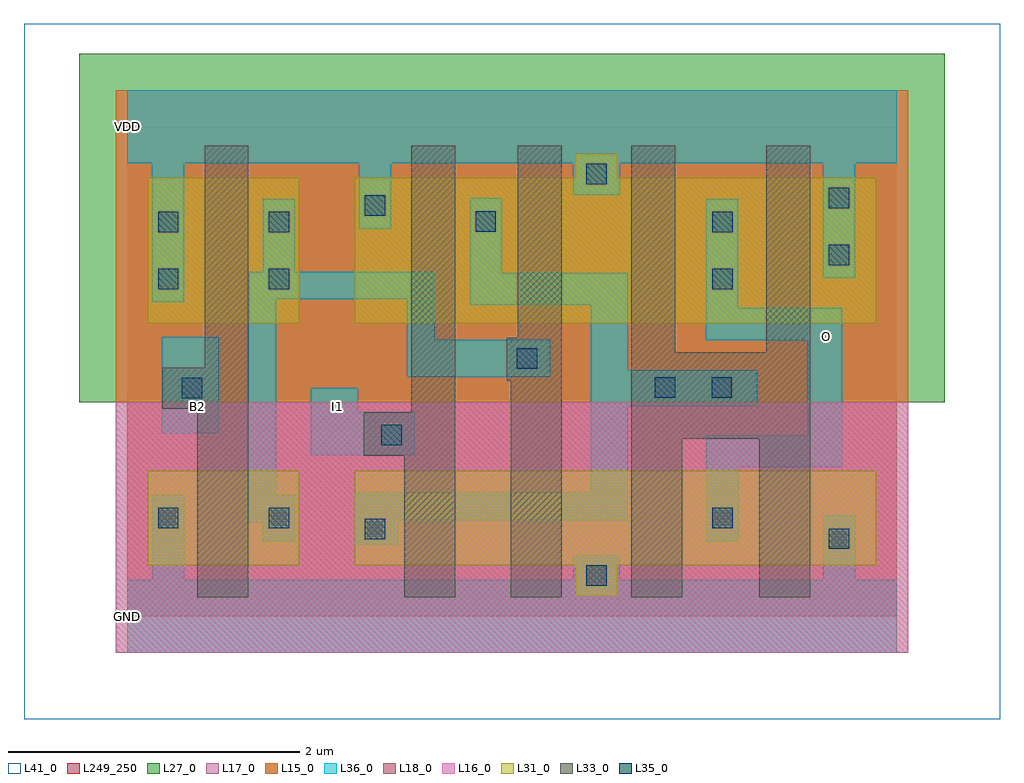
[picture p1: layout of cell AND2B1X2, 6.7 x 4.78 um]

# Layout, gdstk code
import gdstk
lib = gdstk.Library(unit=1e-6, precision=1e-09)
def R(c, l, rs):  # rectangles x0, y0, x1, y1
    for r in rs: c.add(gdstk.rectangle(r[:2], r[2:], *l))
def P(c, l, *ps):  # polygons
    for p in ps: c.add(gdstk.Polygon(p, *l))
L15_0 = (15, 0)
L16_0 = (16, 0)
L17_0 = (17, 0)
L18_0 = (18, 0)
L27_0 = (27, 0)
L31_0 = (31, 0)
L33_0 = (33, 0)
L35_0 = (35, 0)
L36_0 = (36, 0)
L41_0 = (41, 0)
L249_250 = (249, 250)

and2b1x2 = lib.new_cell('AND2B1X2')
R(and2b1x2, L15_0, [(-0.08,1.47,5.36,3.61)])
R(and2b1x2, L16_0, [(-0.08,-0.25,5.36,1.47)])
R(and2b1x2, L17_0, [(-0.08,1.47,5.36,3.61)])
R(and2b1x2, L18_0, [(-0.08,-0.25,5.36,1.47)])
R(and2b1x2, L27_0, [(-0.33,1.47,5.61,3.86)])
R(and2b1x2, L31_0, [(0.14,0.35,1.18,1), (0.14,2.01,1.18,3.01)])
P(and2b1x2, L31_0, [(1.56,2.01),(1.56,3.01),(3.08,3.01),(3.08,3.175),(3.36,3.175),(3.36,3.01),(5.14,3.01),(5.14,2.01)],
  [(3.08,0.14),(3.08,0.35),(1.56,0.35),(1.56,1),(5.14,1),(5.14,0.35),(3.36,0.35),(3.36,0.14)])
P(and2b1x2, L33_0, [(0.48,0.13),(0.48,1.425),(0.239,1.425),(0.239,1.706),(0.53,1.706),(0.53,3.23),(0.83,3.23),(0.83,0.13)],
  [(1.9,0.13),(1.9,1.1),(1.622,1.1),(1.622,1.4),(1.95,1.4),(1.95,3.23),(2.25,3.23),(2.25,0.13)],
  [(2.63,0.13),(2.63,1.617),(2.604,1.617),(2.604,1.91),(2.68,1.91),(2.68,3.23),(2.98,3.23),(2.98,0.13)],
  [(3.46,0.13),(3.46,3.23),(3.76,3.23),(3.76,1.813),(4.386,1.813),(4.386,3.23),(4.686,3.23),(4.686,0.13),(4.336,0.13),(4.336,1.217),(3.81,1.217),(3.81,0.13)])
R(and2b1x2, L35_0, [(3.15,0.21,3.29,0.35), (4.816,0.462,4.956,0.602), (1.63,0.53,1.77,0.67), (0.21,0.605,0.35,0.745), (0.97,0.605,1.11,0.745), (4.014,0.605,4.154,0.745), (1.742,1.175,1.882,1.315), (0.374,1.496,0.514,1.636), (3.62,1.499,3.76,1.639), (4.01,1.501,4.15,1.641), (2.674,1.7,2.814,1.84), (0.21,2.245,0.35,2.385), (0.97,2.245,1.11,2.385), (4.014,2.245,4.154,2.385), (4.816,2.41,4.956,2.55), (0.21,2.635,0.35,2.775), (0.97,2.635,1.11,2.775), (4.014,2.635,4.154,2.775), (2.39,2.64,2.53,2.78), (1.63,2.75,1.77,2.89), (4.816,2.8,4.956,2.94), (3.15,2.965,3.29,3.105)])
R(and2b1x2, L36_0, [(0.234,1.256,0.626,1.915)])
P(and2b1x2, L36_0, [(0,-0.25),(0,0.25),(0.17,0.25),(0.17,0.835),(0.39,0.835),(0.39,0.25),(3.06,0.25),(3.06,0.42),(3.38,0.42),(3.38,0.25),(4.776,0.25),(4.776,0.692),(4.996,0.692),(4.996,0.25),(5.28,0.25),(5.28,-0.25)],
  [(1.56,0.49),(1.56,0.85),(3.18,0.85),(3.18,2.137),(2.35,2.137),(2.35,2.87),(2.57,2.87),(2.57,2.357),(3.435,2.357),(3.435,2.138),(3.434,2.138),(3.434,1.689),(4.323,1.689),(4.323,1.443),(3.434,1.443),(3.434,0.66),(1.86,0.66),(1.86,0.49)],
  [(0.93,0.515),(0.93,0.645),(0.83,0.645),(0.83,2.365),(0.93,2.365),(0.93,2.865),(1.15,2.865),(1.15,2.365),(2.11,2.365),(2.11,1.897),(2.904,1.897),(2.904,1.644),(1.92,1.644),(1.92,2.175),(1.02,2.175),(1.02,0.835),(1.15,0.835),(1.15,0.515)],
  [(3.974,0.515),(3.974,1.243),(4.67,1.243),(4.67,1.896),(3.974,1.896),(3.974,2.865),(4.194,2.865),(4.194,2.116),(4.908,2.116),(4.908,1.023),(4.194,1.023),(4.194,0.515)],
  [(1.26,1.105),(1.26,1.566),(1.58,1.566),(1.58,1.405),(1.972,1.405),(1.972,1.105)],
  [(0.17,2.155),(0.17,3.11),(0,3.11),(0,3.61),(5.28,3.61),(5.28,3.11),(4.996,3.11),(4.996,2.32),(4.776,2.32),(4.776,3.11),(3.38,3.11),(3.38,2.895),(3.06,2.895),(3.06,3.11),(1.81,3.11),(1.81,2.66),(1.59,2.66),(1.59,3.11),(0.39,3.11),(0.39,2.155)])
R(and2b1x2, L41_0, [(-0.71,-0.708,5.99,4.068)])
R(and2b1x2, L249_250, [(0,0,5.28,3.36)])
and2b1x2.add(gdstk.Label('O', (4.8,1.92), layer=211, texttype=0))
and2b1x2.add(gdstk.Label('B2', (0.48,1.44), layer=211, texttype=0))
and2b1x2.add(gdstk.Label('VDD', (0,3.36), layer=211, texttype=0))
and2b1x2.add(gdstk.Label('GND', (0,0), layer=211, texttype=0))
and2b1x2.add(gdstk.Label('I1', (1.44,1.44), layer=211, texttype=0))

lib.write_gds('AND2B1X2.gds')
